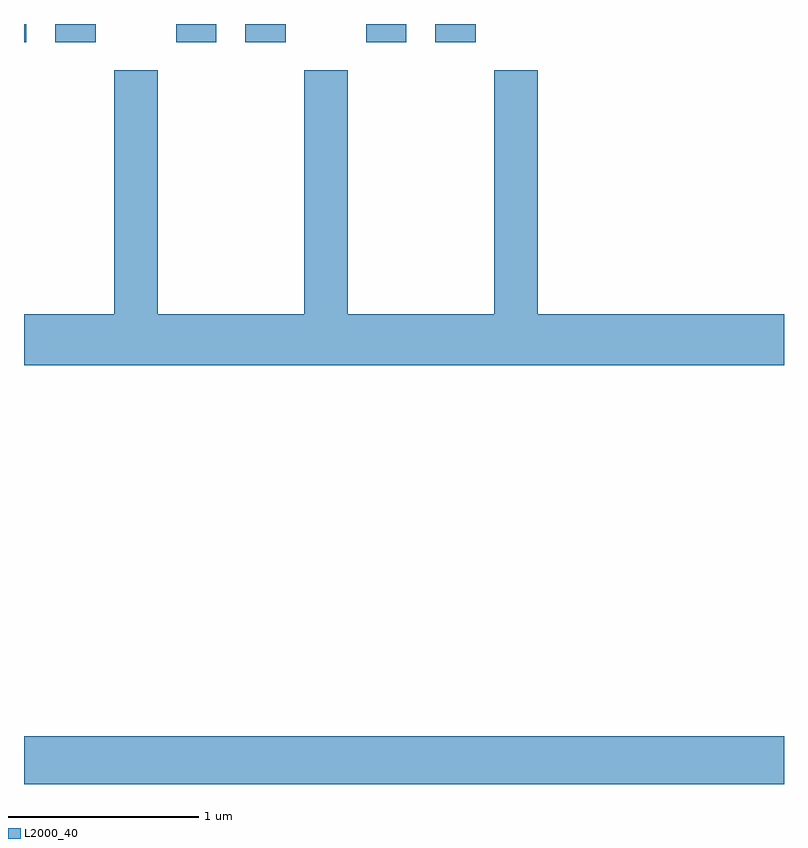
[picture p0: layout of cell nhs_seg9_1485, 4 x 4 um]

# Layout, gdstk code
import gdstk
lib = gdstk.Library(unit=1e-6, precision=1e-09)
def R(c, l, rs):  # rectangles x0, y0, x1, y1
    for r in rs: c.add(gdstk.rectangle(r[:2], r[2:], *l))
def P(c, l, *ps):  # polygons
    for p in ps: c.add(gdstk.Polygon(p, *l))
L2000_40 = (2000, 40)

nhs_seg9_1485 = lib.new_cell('nhs_seg9_1485')
R(nhs_seg9_1485, L2000_40, [(227.611,2058.432,231.611,2058.684), (227.611,2062.336,227.624,2062.432), (227.776,2062.336,227.989,2062.432), (228.411,2062.336,228.624,2062.432), (228.776,2062.336,228.989,2062.432), (229.411,2062.336,229.624,2062.432), (229.776,2062.336,229.989,2062.432)])
P(nhs_seg9_1485, L2000_40, [(231.611,2060.904),(230.314,2060.904),(230.314,2062.189),(230.086,2062.189),(230.086,2060.904),(229.314,2060.904),(229.314,2062.189),(229.086,2062.189),(229.086,2060.904),(228.314,2060.904),(228.314,2062.189),(228.086,2062.189),(228.086,2060.904),(227.611,2060.904),(227.611,2060.636),(231.611,2060.636)])

lib.write_gds('nhs_seg9_1485.gds')
